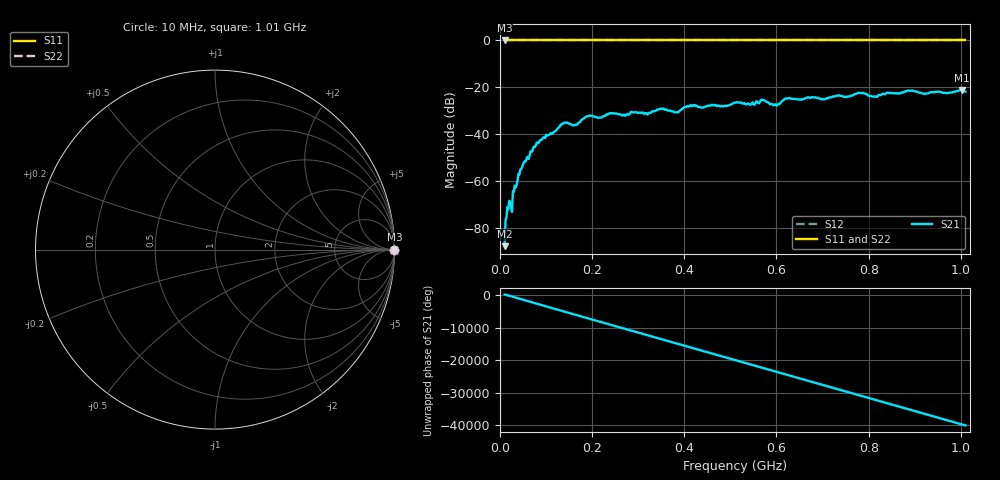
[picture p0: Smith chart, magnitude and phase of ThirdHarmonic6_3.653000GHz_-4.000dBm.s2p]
! 8/17/2025 12:18:07 PM
! C:\ANRITSUVNA\TEMP\TEMP.S2P
! CHANNEL.1
! TR.MEASUREMENT
! RAW.DATA
! RF.CORRECTION.OFF
! AVERAGING.OFF
! IF.BANDWIDTH: 5KHZ
! SWEEPTYPE:  FREQ.SWEEP(Linear)
! Reference Plane Port Info
! PORT:  PORT1  PORT2
! DISTANCE:  0  m  0  m
! TIME:  0  s  0  s
! PHASE.OFFSET:  0  deg.  0  deg.
! LOSS:  0  dB  0  dB
! REF.LOSS:  0  dB  0  dB
! REF.FREQ:  0  Hz  0  Hz
! Power Info
! POWER:  -20  dBm  -20  dBm
! EFF.POWER:  -20  dBm  -20  dBm
! SOURCE.ATTEN:  0  dB  0  dB
! TEST.ATTEN:  0  dB  0  dB
# GHZ S RI R 50.0
! FREQ.GHZ  S11RE  S11IM  S21RE  S21IM  S12RE  S12IM  S22RE  S22IM
!; PortSelection: Port_12
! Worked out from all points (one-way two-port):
!   501 points, 10 MHz to 1.01 GHz, reference 50 ohm
!   highest |S21| = -21.16 dB at 1.002 GHz (marker M1); lowest = -87.8 dB at 10 MHz (marker M2)
!   lowest |S11| = 0.0 dB at 10 MHz (marker M3)
!   |S11| at or under -10 dB: nowhere
!   |S22| runs from 0.0 to 0.0 dB; largest |S21 - S12| = 1.1
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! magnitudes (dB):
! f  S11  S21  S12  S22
! 10 MHz  0.0  -87.8  0.0  0.0
! 18 MHz  0.0  -72.1  0.0  0.0
! 26 MHz  0.0  -73.2  0.0  0.0
! 44 MHz  0.0  -55.1  0.0  0.0
! 76 MHz  0.0  -45.5  0.0  0.0
! 136 MHz  0.0  -35.5  0.0  0.0
! 162 MHz  0.0  -36.2  0.0  0.0
! 178 MHz  0.0  -33.8  0.0  0.0
! 192 MHz  0.0  -32.2  0.0  0.0
! 322 MHz  0.0  -31.1  0.0  0.0
! 344 MHz  0.0  -29.6  0.0  0.0
! 384 MHz  0.0  -30.6  0.0  0.0
! 410 MHz  0.0  -28.3  0.0  0.0
! 510 MHz  0.0  -26.6  0.0  0.0
! 570 MHz  0.0  -25.4  0.0  0.0
! 598 MHz  0.0  -27.4  0.0  0.0
! 622 MHz  0.0  -24.8  0.0  0.0
! 678 MHz  0.0  -24.2  0.0  0.0
! 814 MHz  0.0  -23.9  0.0  0.0
! 844 MHz  0.0  -22.4  0.0  0.0
! 1.002 GHz  0.0  -21.2  0.0  0.0
! 1.01 GHz  0.0  -21.9  0.0  0.0
